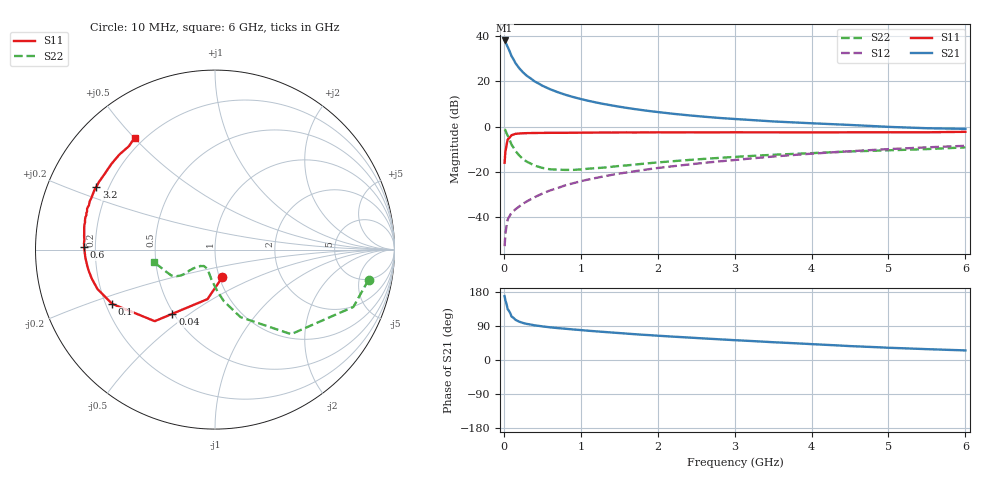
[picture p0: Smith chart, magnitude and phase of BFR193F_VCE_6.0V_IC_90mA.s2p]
! Infineon Technologies  Discrete & RF Semiconductors
! BFR193F
! VCE =  6.0 V,  IC =  90 mA
! Common Emitter S-Parameters:  Jan 2017
# GHz  S  MA  R  50
!  f  S11  S21  S12  S22
! GHz  MAG  ANG  MAG  ANG  MAG  ANG  MAG  ANG
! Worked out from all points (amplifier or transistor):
!   77 points, 10 MHz to 6 GHz, reference 50 ohm
!   highest |S21| = 38.0 dB at 10 MHz (marker M1)
!   |S21| within 3 dB of that: start of sweep to 51.66 MHz
!   unconditionally stable (mu >= 1): 491.3 MHz to 2.719 GHz
!   at 130 MHz: K = 0.62, MSG = 33.3 dB, |S12| = -37.1 dB
!   at 2.2 GHz: K = 1.03, MAG = 10.5 dB, |S12| = -17.5 dB
!   at 6 GHz: K = 0.86, MSG = 3.7 dB, |S12| = -8.5 dB
!   S11 on the Smith chart (normalised r, x): 10 MHz: 1.03, -0.33; 40 MHz: 0.49, -0.43; 100 MHz: 0.23, -0.24; 600 MHz: 0.16, +0.01; 3.2 GHz: 0.15, +0.24; 6 GHz: 0.17, +0.50
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0.01  0.1593 -75.2  79.61 168.7  0.0023 89.7  0.8718 -11.1
0.02  0.2789 -98.6  75.24 157.6  0.0042 71.9  0.8346 -22.5
0.04  0.4296 -123.6  61.91 143.4  0.0073 62.1  0.6844 -37.9
0.05  0.5213 -130.1  57.15 134.1  0.0089 59.8  0.6341 -48.0
0.1  0.6477 -152.2  35.93 114.8  0.0125 51.1  0.4021 -69.3
0.15  0.6906 -161.4  25.39 106.2  0.0149 53.6  0.2915 -80.3
0.2  0.7049 -166.6  19.44 101.1  0.0173 56.4  0.2316 -86.8
0.25  0.7131 -170.3  15.68 97.7  0.0199 60.7  0.1906 -92.4
0.3  0.7178 -172.9  13.17 95.2  0.0224 64.1  0.168 -96.8
0.4  0.7236 -176.4  9.947 91.4  0.0276 67.3  0.1379 -103.3
0.5  0.7263 -178.9  8.001 88.7  0.0332 70.6  0.1228 -108.8
0.6  0.729 178.9  6.697 86.3  0.039 72.0  0.1143 -113.7
0.7  0.7307 177.1  5.755 84.2  0.0441 73.7  0.1123 -117.6
0.8  0.7298 175.8  5.043 82.5  0.0507 74.6  0.1108 -121.5
1.1  0.7367 171.5  3.702 77.2  0.0681 76.4  0.1179 -128.8
1.5  0.7426 167.2  2.751 71.1  0.0919 77.0  0.1354 -135.1
2.1  0.7463 161.4  2.007 62.9  0.1277 76.3  0.1672 -139.6
3.1  0.7486 153.0  1.438 51.3  0.19 74.0  0.2194 -141.6
3.2  0.7482 152.2  1.403 50.3  0.1971 73.6  0.2243 -141.9
4.1  0.7457 144.1  1.165 40.9  0.2592 69.5  0.2642 -146.1
5.1  0.7504 134.0  0.973 31.6  0.3242 63.4  0.3035 -157.4
6  0.7674 125.6  0.892 25.3  0.3768 57.7  0.3485 -168.5
